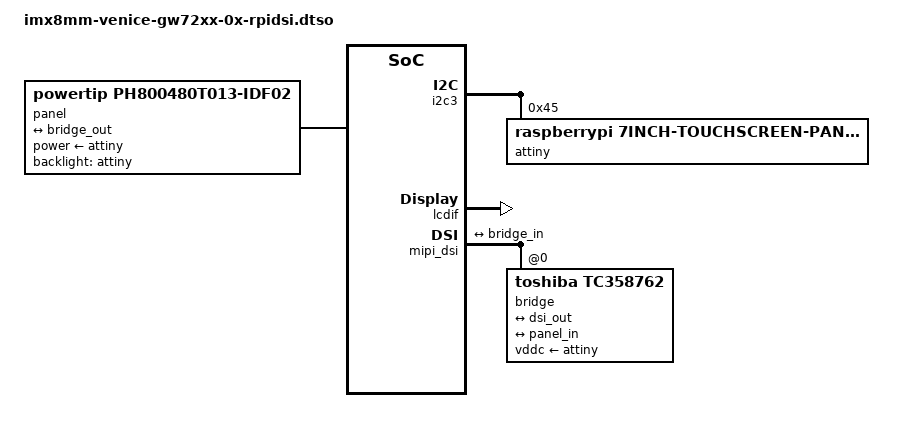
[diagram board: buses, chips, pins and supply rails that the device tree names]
// SPDX-License-Identifier: (GPL-2.0+ OR MIT)
/*
 * Copyright 2023 Gateworks Corporation
 */

#include <dt-bindings/gpio/gpio.h>

#include "imx8mm-pinfunc.h"

/dts-v1/;
/plugin/;

&{/} {
	compatible = "gw,imx8mm-gw73xx-0x", "fsl,imx8mm";

	panel {
		compatible = "powertip,ph800480t013-idf02";
		power-supply = <&attiny>;
		backlight = <&attiny>;

		port {
			panel_in: endpoint {
				remote-endpoint = <&bridge_out>;
			};
		};
	};
};

&i2c3 {
	#address-cells = <1>;
	#size-cells = <0>;

	attiny: regulator@45 {
		compatible = "raspberrypi,7inch-touchscreen-panel-regulator";
		reg = <0x45>;
	};
};

&lcdif {
	status = "okay";
};

&mipi_dsi {
	samsung,burst-clock-frequency = <891000000>;
	samsung,esc-clock-frequency = <54000000>;
	samsung,pll-clock-frequency = <27000000>;
	#address-cells = <1>;
	#size-cells = <0>;
	status = "okay";

	bridge@0 {
		compatible = "toshiba,tc358762";
		reg = <0>;
		vddc-supply = <&attiny>;

		ports {
			#address-cells = <1>;
			#size-cells = <0>;

			port@0 {
				reg = <0>;

				bridge_in: endpoint {
					remote-endpoint = <&dsi_out>;
				};
			};

			port@1 {
				reg = <1>;

				bridge_out: endpoint {
					remote-endpoint = <&panel_in>;
				};
			};
		};
	};

	ports {
		#address-cells = <1>;
		#size-cells = <0>;

		port@1 {
			reg = <1>;

			dsi_out: endpoint {
				remote-endpoint = <&bridge_in>;
			};
		};
	};
};
